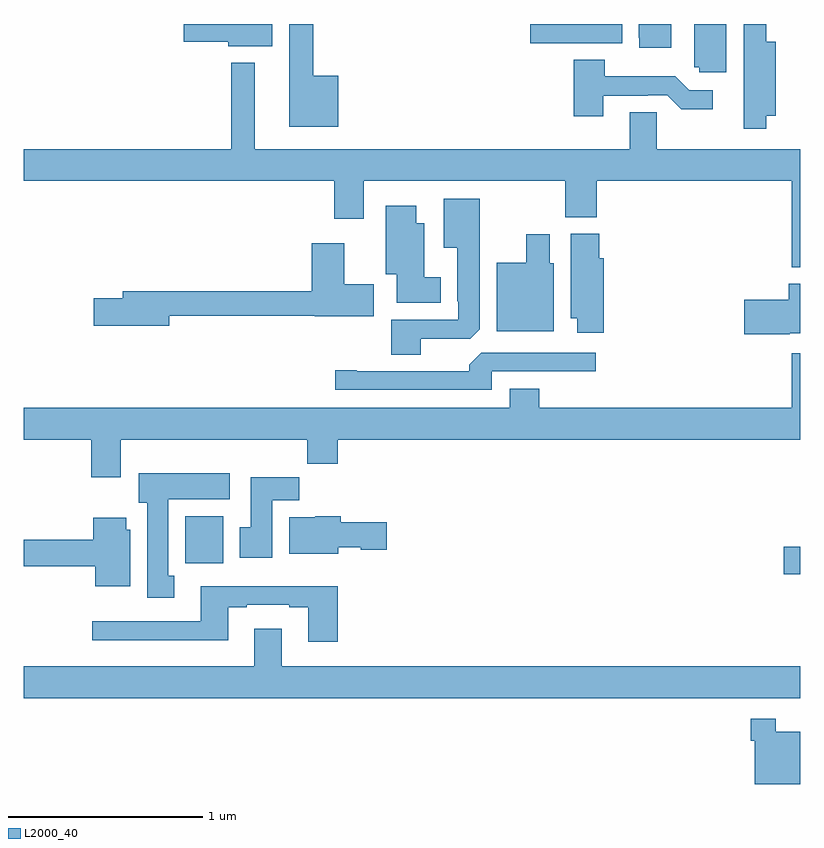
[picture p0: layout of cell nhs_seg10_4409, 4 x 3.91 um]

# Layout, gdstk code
import gdstk
lib = gdstk.Library(unit=1e-6, precision=1e-09)
def R(c, l, rs):  # rectangles x0, y0, x1, y1
    for r in rs: c.add(gdstk.rectangle(r[:2], r[2:], *l))
def P(c, l, *ps):  # polygons
    for p in ps: c.add(gdstk.Polygon(p, *l))
L2000_40 = (2000, 40)

nhs_seg10_4409 = lib.new_cell('nhs_seg10_4409')
R(nhs_seg10_4409, L2000_40, [(364.914,1255.666,365,1255.808), (361.832,1255.724,362.029,1255.966), (363.608,1258.4,364.082,1258.5)])
P(nhs_seg10_4409, L2000_40, [(364.618,1258.5),(364.454,1258.5),(364.454,1258.278),(364.479,1258.278),(364.479,1258.251),(364.618,1258.251)],
  [(364.823,1258.028),(364.874,1258.028),(364.874,1258.408),(364.823,1258.408),(364.823,1258.5),(364.707,1258.5),(364.707,1257.96),(364.823,1257.96)],
  [(362.62,1258.234),(362.491,1258.234),(362.491,1258.5),(362.369,1258.5),(362.369,1257.971),(362.62,1257.971)],
  [(364.336,1258.5),(364.167,1258.5),(364.167,1258.428),(364.169,1258.428),(364.169,1258.379),(364.336,1258.379)],
  [(362.281,1258.5),(361.824,1258.5),(361.824,1258.409),(362.054,1258.409),(362.054,1258.385),(362.281,1258.385)],
  [(363.985,1258.131),(364.214,1258.131),(364.214,1258.134),(364.314,1258.134),(364.387,1258.061),(364.549,1258.061),(364.549,1258.158),(364.428,1258.158),(364.355,1258.231),(363.993,1258.231),(363.993,1258.315),(363.833,1258.315),(363.833,1258.026),(363.985,1258.026)],
  [(365,1257.856),(364.26,1257.856),(364.26,1258.046),(364.121,1258.046),(364.121,1257.856),(362.191,1257.856),(362.191,1258.3),(362.07,1258.3),(362.07,1257.856),(361,1257.856),(361,1257.692),(362.6,1257.692),(362.6,1257.498),(362.752,1257.498),(362.752,1257.692),(363.79,1257.692),(363.79,1257.505),(363.95,1257.505),(363.95,1257.692),(364.956,1257.692),(364.956,1257.248),(365,1257.248)],
  [(363.046,1256.88),(363.3,1256.88),(363.349,1256.929),(363.349,1257.601),(363.164,1257.601),(363.164,1257.347),(363.233,1257.347),(363.233,1257.073),(363.237,1257.073),(363.237,1256.976),(362.894,1256.976),(362.894,1256.797),(363.046,1256.797)],
  [(363.148,1257.196),(363.064,1257.196),(363.064,1257.475),(363.022,1257.475),(363.022,1257.565),(362.864,1257.565),(362.864,1257.212),(362.921,1257.212),(362.921,1257.065),(363.148,1257.065)],
  [(363.986,1257.294),(363.965,1257.294),(363.965,1257.42),(363.818,1257.42),(363.818,1256.984),(363.851,1256.984),(363.851,1256.91),(363.986,1256.91)],
  [(363.73,1257.267),(363.709,1257.267),(363.709,1257.418),(363.587,1257.418),(363.587,1257.271),(363.437,1257.271),(363.437,1256.918),(363.73,1256.918)],
  [(361.75,1256.997),(362.499,1256.997),(362.499,1256.996),(362.803,1256.996),(362.803,1257.159),(362.65,1257.159),(362.65,1257.37),(362.483,1257.37),(362.483,1257.125),(361.511,1257.125),(361.511,1257.089),(361.362,1257.089),(361.362,1256.947),(361.75,1256.947)],
  [(364.944,1256.909),(365,1256.909),(365,1257.163),(364.94,1257.163),(364.94,1257.08),(364.71,1257.08),(364.71,1256.902),(364.944,1256.902)],
  [(363.411,1256.712),(363.946,1256.712),(363.946,1256.808),(363.357,1256.808),(363.296,1256.746),(363.296,1256.712),(362.716,1256.712),(362.716,1256.717),(362.604,1256.717),(362.604,1256.616),(363.411,1256.616)],
  [(361.501,1256.36),(362.461,1256.36),(362.461,1256.236),(362.618,1256.236),(362.618,1256.36),(365,1256.36),(365,1256.806),(364.956,1256.806),(364.956,1256.524),(363.656,1256.524),(363.656,1256.623),(363.503,1256.623),(363.503,1256.524),(361,1256.524),(361,1256.36),(361.349,1256.36),(361.349,1256.166),(361.501,1256.166)],
  [(361.777,1255.658),(361.744,1255.658),(361.744,1256.054),(362.062,1256.054),(362.062,1256.188),(361.592,1256.188),(361.592,1256.034),(361.637,1256.034),(361.637,1255.545),(361.777,1255.545)],
  [(362.281,1256.048),(362.42,1256.048),(362.42,1256.167),(362.171,1256.167),(362.171,1255.908),(362.114,1255.908),(362.114,1255.752),(362.281,1255.752)],
  [(362.62,1255.805),(362.736,1255.805),(362.736,1255.793),(362.869,1255.793),(362.869,1255.935),(362.633,1255.935),(362.633,1255.966),(362.502,1255.966),(362.502,1255.96),(362.369,1255.96),(362.369,1255.772),(362.62,1255.772)],
  [(361.549,1255.896),(361.528,1255.896),(361.528,1255.957),(361.358,1255.957),(361.358,1255.844),(361,1255.844),(361,1255.708),(361.37,1255.708),(361.37,1255.604),(361.549,1255.604)],
  [(362.618,1255.606),(361.913,1255.606),(361.913,1255.425),(361.353,1255.425),(361.353,1255.328),(362.053,1255.328),(362.053,1255.497),(362.149,1255.497),(362.149,1255.509),(362.369,1255.509),(362.369,1255.497),(362.465,1255.497),(362.465,1255.32),(362.618,1255.32)],
  [(365,1255.192),(362.329,1255.192),(362.329,1255.387),(362.189,1255.387),(362.189,1255.192),(361,1255.192),(361,1255.028),(365,1255.028)],
  [(365,1254.856),(364.873,1254.856),(364.873,1254.922),(364.744,1254.922),(364.744,1254.809),(364.764,1254.809),(364.764,1254.587),(365,1254.587)])

lib.write_gds('nhs_seg10_4409.gds')
